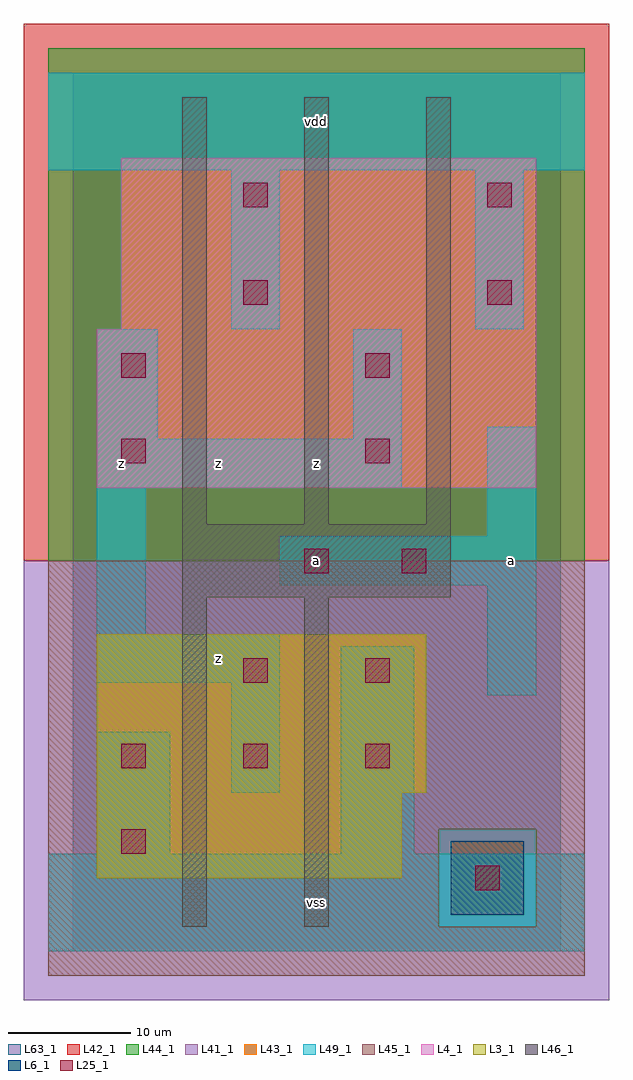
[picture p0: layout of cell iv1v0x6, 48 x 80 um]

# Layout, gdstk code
import gdstk
lib = gdstk.Library(unit=1e-6, precision=1e-09)
def R(c, l, rs):  # rectangles x0, y0, x1, y1
    for r in rs: c.add(gdstk.rectangle(r[:2], r[2:], *l))
def A(c, l, x, y, w, h, nx, ny, dx, dy):  # array of equal rectangles
    R(c, l, [(x+i*dx, y+j*dy, x+i*dx+w, y+j*dy+h) for i in range(nx) for j in range(ny)])
L3_1 = (3, 1)
L4_1 = (4, 1)
L6_1 = (6, 1)
L25_1 = (25, 1)
L41_1 = (41, 1)
L42_1 = (42, 1)
L43_1 = (43, 1)
L44_1 = (44, 1)
L45_1 = (45, 1)
L46_1 = (46, 1)
L49_1 = (49, 1)
L63_1 = (63, 1)

iv1v0x6 = lib.new_cell('iv1v0x6')
R(iv1v0x6, L3_1, [(2,6,27,13), (2,13,29,26)])
R(iv1v0x6, L4_1, [(2,38,38,51), (4,51,38,65)])
R(iv1v0x6, L6_1, [(31,3,37,9), (31,3,37,9)])
A(iv1v0x6, L25_1, 4, 15, 2, 2, 3, 1, 10, 0)
R(iv1v0x6, L25_1, [(33,5,35,7), (4,8,6,10), (14,22,16,24), (24,22,26,24), (19,31,21,33), (27,31,29,33), (4,40,6,42), (24,40,26,42), (4,47,6,49), (24,47,26,49), (14,53,16,55), (34,53,36,55), (14,61,16,63), (34,61,36,63)])
R(iv1v0x6, L41_1, [(-4,-4,44,32)])
R(iv1v0x6, L42_1, [(-4,32,44,76)])
R(iv1v0x6, L43_1, [(31,3,37,9), (2,6,27,13), (2,13,29,26), (2,38,38,51), (4,51,38,65)])
R(iv1v0x6, L44_1, [(30,2,38,10), (-2,32,42,74)])
R(iv1v0x6, L45_1, [(-2,-2,42,2), (-2,2,30,10), (38,2,42,10), (-2,10,42,32)])
A(iv1v0x6, L46_1, 9, 35, 2, 35, 3, 1, 10, 0)
R(iv1v0x6, L46_1, [(9,2,11,29), (19,2,21,29), (9,29,31,35)])
R(iv1v0x6, L49_1, [(-2,0,42,8), (2,8,8,18), (22,8,28,25), (13,13,17,22), (34,21,38,30), (2,22,17,26), (2,26,6,38), (17,30,38,34), (34,34,38,43), (2,38,27,42), (2,42,7,51), (23,42,27,51), (13,51,17,64), (33,51,37,64), (-2,64,42,72)])
R(iv1v0x6, L63_1, [(0,0,40,72)])
iv1v0x6.add(gdstk.Label('z', (4,40), layer=49, texttype=1))
iv1v0x6.add(gdstk.Label('z', (12,24), layer=49, texttype=1))
iv1v0x6.add(gdstk.Label('z', (12,40), layer=49, texttype=1))
iv1v0x6.add(gdstk.Label('vss', (20,4), layer=49, texttype=1))
iv1v0x6.add(gdstk.Label('a', (20,32), layer=49, texttype=1))
iv1v0x6.add(gdstk.Label('z', (20,40), layer=49, texttype=1))
iv1v0x6.add(gdstk.Label('vdd', (20,68), layer=49, texttype=1))
iv1v0x6.add(gdstk.Label('a', (36,32), layer=49, texttype=1))

lib.write_gds('iv1v0x6.gds')
